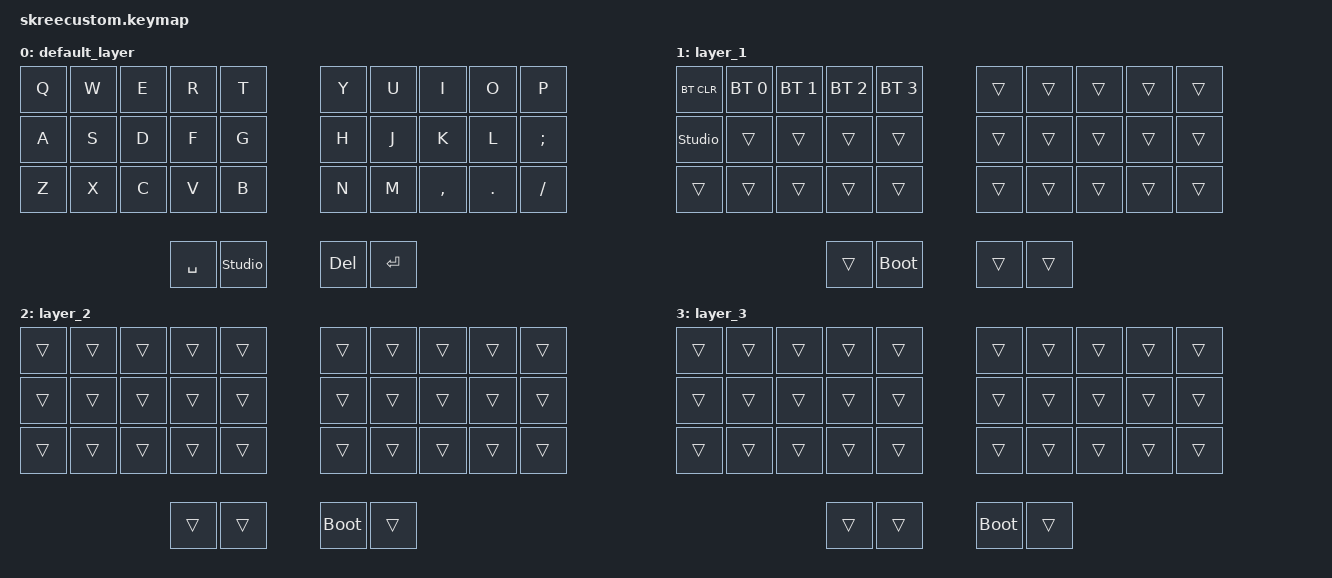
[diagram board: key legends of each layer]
/*
 * Copyright (c) 2020 The ZMK Contributors
 *
 * SPDX-License-Identifier: MIT
 */

//#include <behaviors/mouse_keys.dtsi>
#include <behaviors.dtsi>
#include <dt-bindings/zmk/bt.h>
#include <dt-bindings/zmk/keys.h>
#include <dt-bindings/zmk/rgb.h>

/ {
    keymap {
        compatible = "zmk,keymap";

        default_layer {
            bindings = <
&kp Q  &kp W  &kp E  &kp R      &kp T             &kp Y    &kp U    &kp I      &kp O    &kp P
&kp A  &kp S  &kp D  &kp F      &kp G             &kp H    &kp J    &kp K      &kp L    &kp SEMI
&kp Z  &kp X  &kp C  &kp V      &kp B             &kp N    &kp M    &kp COMMA  &kp DOT  &kp FSLH
                     &kp SPACE  &studio_unlock    &kp DEL  &kp RET
            >;
        };

        layer_1 {
            bindings = <
&bt BT_CLR      &bt BT_SEL 0  &bt BT_SEL 1  &bt BT_SEL 2  &bt BT_SEL 3    &trans  &trans  &trans  &trans  &trans
&studio_unlock  &trans        &trans        &trans        &trans          &trans  &trans  &trans  &trans  &trans
&trans          &trans        &trans        &trans        &trans          &trans  &trans  &trans  &trans  &trans
                                            &trans        &bootloader     &trans  &trans
            >;
        };

        layer_2 {
            bindings = <
&trans  &trans  &trans  &trans  &trans    &trans       &trans  &trans  &trans  &trans
&trans  &trans  &trans  &trans  &trans    &trans       &trans  &trans  &trans  &trans
&trans  &trans  &trans  &trans  &trans    &trans       &trans  &trans  &trans  &trans
                        &trans  &trans    &bootloader  &trans
            >;
        };

        layer_3 {
            bindings = <
&trans  &trans  &trans  &trans  &trans    &trans       &trans  &trans  &trans  &trans
&trans  &trans  &trans  &trans  &trans    &trans       &trans  &trans  &trans  &trans
&trans  &trans  &trans  &trans  &trans    &trans       &trans  &trans  &trans  &trans
                        &trans  &trans    &bootloader  &trans
            >;
        };
    };
};
